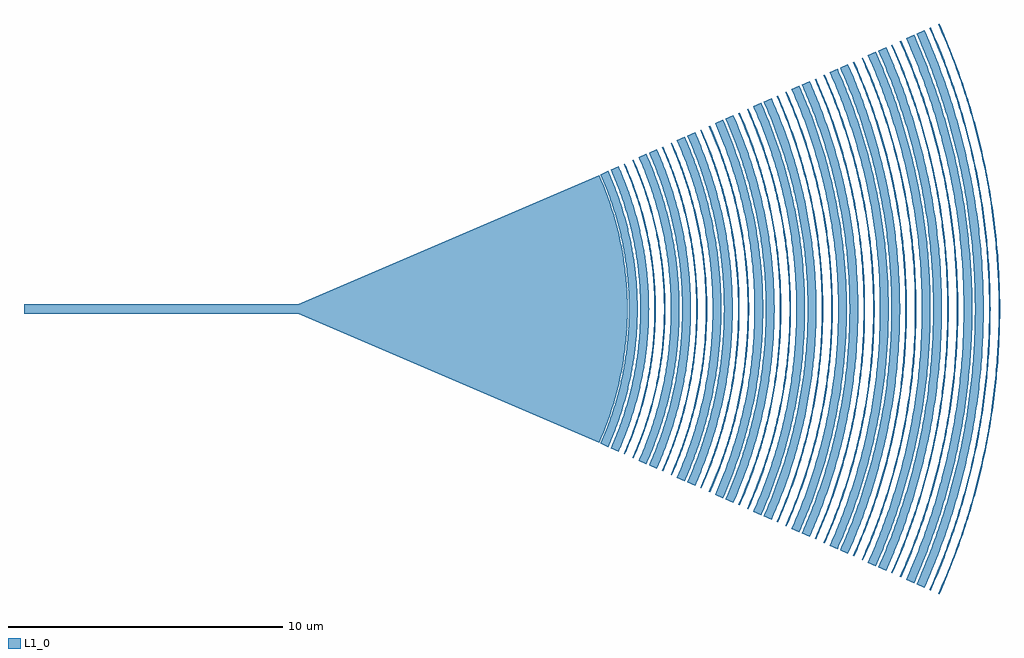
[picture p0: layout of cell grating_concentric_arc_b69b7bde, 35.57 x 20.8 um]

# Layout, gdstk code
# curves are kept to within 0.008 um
import gdstk
lib = gdstk.Library(unit=1e-6, precision=2e-09)
def R(c, l, rs):  # rectangles x0, y0, x1, y1
    for r in rs: c.add(gdstk.rectangle(r[:2], r[2:], *l))
def P(c, l, *ps):  # polygons
    for p in ps: c.add(gdstk.Polygon(p, *l))
L1_0 = (1, 0)

straight_3aa2beef = lib.new_cell('straight_3aa2beef')
R(straight_3aa2beef, L1_0, [(0,-0.174,10,0.174)])

ring_7b785521_transform_ = lib.new_cell('ring_7b785521_transform_6b13472e')
P(ring_7b785521_transform_, L1_0, [(11.008,-4.902),(11.224,-4.384),(11.394,-3.924),(11.584,-3.322),(11.742,-2.71),(11.842,-2.23),(11.952,-1.538),(12.016,-0.91),(12.04,-0.49),(12.05,0.14),(12.016,0.91),(11.952,1.538),(11.842,2.23),(11.726,2.778),(11.524,3.524),(11.3,4.188),(11.008,4.902),(11.296,5.03),(11.544,4.432),(11.804,3.684),(11.998,2.992),(12.152,2.288),(12.264,1.578),(12.33,0.934),(12.362,0.288),(12.358,-0.432),(12.312,-1.15),(12.264,-1.578),(12.19,-2.076),(12.032,-2.852),(11.846,-3.546),(11.692,-4.026),(11.544,-4.432),(11.296,-5.03)])

ring_e59a8a70_transform_ = lib.new_cell('ring_e59a8a70_transform_afdd1f73')
P(ring_e59a8a70_transform_, L1_0, [(11.386,-5.07),(11.584,-4.602),(11.832,-3.92),(12.002,-3.366),(12.162,-2.734),(12.276,-2.164),(12.372,-1.52),(12.424,-1.014),(12.46,-0.362),(12.46,0.362),(12.418,1.086),(12.344,1.734),(12.222,2.45),(12.04,3.226),(11.854,3.852),(11.662,4.4),(11.386,5.07),(11.674,5.198),(11.904,4.648),(12.154,3.948),(12.344,3.308),(12.516,2.584),(12.634,1.926),(12.724,1.188),(12.772,0.446),(12.772,-0.446),(12.724,-1.188),(12.634,-1.926),(12.484,-2.73),(12.382,-3.164),(12.264,-3.594),(12.034,-4.3),(11.848,-4.788),(11.674,-5.198)])

ring_a37c2fef_transform_ = lib.new_cell('ring_a37c2fef_transform_5f5a8555')
P(ring_a37c2fef_transform_, L1_0, [(11.856,-5.278),(12.09,-4.722),(12.222,-4.368),(12.344,-4.01),(12.536,-3.36),(12.68,-2.772),(12.782,-2.254),(12.842,-1.882),(12.9,-1.432),(12.952,-0.83),(12.978,-0.152),(12.974,0.378),(12.93,1.132),(12.9,1.432),(12.842,1.882),(12.726,2.55),(12.594,3.14),(12.434,3.722),(12.272,4.226),(12.144,4.58),(12.006,4.932),(11.856,5.278),(11.902,5.298),(12.022,5.02),(12.19,4.598),(12.414,3.954),(12.544,3.518),(12.622,3.226),(12.774,2.56),(12.868,2.038),(12.94,1.512),(12.972,1.21),(13.014,0.606),(13.028,-0.076),(13.006,-0.758),(12.972,-1.21),(12.94,-1.512),(12.89,-1.888),(12.83,-2.262),(12.694,-2.93),(12.584,-3.372),(12.502,-3.664),(12.414,-3.954),(12.268,-4.384),(12.108,-4.81),(11.902,-5.298)])

ring_c3e093f3_transform_ = lib.new_cell('ring_c3e093f3_transform_9a1306ef')
P(ring_c3e093f3_transform_, L1_0, [(12.174,-5.42),(12.414,-4.848),(12.626,-4.266),(12.832,-3.598),(12.95,-3.148),(13.036,-2.77),(13.138,-2.238),(13.208,-1.778),(13.246,-1.47),(13.3,-0.852),(13.326,-0.156),(13.316,0.542),(13.3,0.852),(13.262,1.316),(13.186,1.932),(13.138,2.238),(13.052,2.694),(12.912,3.3),(12.722,3.97),(12.626,4.266),(12.442,4.776),(12.298,5.136),(12.174,5.42),(12.218,5.44),(12.402,5.01),(12.542,4.648),(12.744,4.06),(12.836,3.762),(12.94,3.386),(13.05,2.932),(13.13,2.552),(13.246,1.862),(13.318,1.244),(13.348,0.856),(13.368,0.466),(13.376,-0.078),(13.368,-0.466),(13.348,-0.856),(13.294,-1.476),(13.246,-1.862),(13.186,-2.246),(13.05,-2.932),(12.94,-3.386),(12.858,-3.686),(12.744,-4.06),(12.596,-4.502),(12.402,-5.01),(12.218,-5.44)])

ring_b3b36a42_transform_ = lib.new_cell('ring_b3b36a42_transform_e5ae62a5')
P(ring_b3b36a42_transform_, L1_0, [(12.402,-5.522),(12.702,-4.79),(12.886,-4.27),(13.092,-3.59),(13.262,-2.9),(13.382,-2.28),(13.474,-1.654),(13.53,-1.104),(13.566,-0.474),(13.574,0.158),(13.564,0.552),(13.53,1.104),(13.454,1.81),(13.326,2.59),(13.172,3.284),(12.982,3.968),(12.702,4.79),(12.402,5.522),(12.688,5.65),(12.996,4.902),(13.234,4.216),(13.458,3.438),(13.65,2.57),(13.766,1.852),(13.844,1.13),(13.884,0.404),(13.884,-0.404),(13.83,-1.292),(13.766,-1.852),(13.706,-2.252),(13.552,-3.046),(13.352,-3.828),(13.08,-4.674),(12.878,-5.204),(12.688,-5.65)])

ring_d9a9c79b_transform_ = lib.new_cell('ring_d9a9c79b_transform_82116c78')
P(ring_d9a9c79b_transform_, L1_0, [(12.78,-5.69),(13.06,-5.014),(13.254,-4.478),(13.448,-3.856),(13.594,-3.306),(13.748,-2.59),(13.864,-1.866),(13.95,-1.058),(13.984,-0.406),(13.988,0.244),(13.95,1.058),(13.864,1.866),(13.748,2.59),(13.594,3.306),(13.492,3.7),(13.33,4.246),(13.06,5.014),(12.78,5.69),(13.068,5.818),(13.384,5.048),(13.63,4.34),(13.88,3.46),(14.042,2.73),(14.176,1.908),(14.264,1.08),(14.302,0.25),(14.296,-0.5),(14.27,-0.998),(14.226,-1.496),(14.128,-2.238),(13.974,-3.056),(13.75,-3.942),(13.63,-4.34),(13.442,-4.892),(13.294,-5.282),(13.068,-5.818)])

ring_b496fe11_transform_ = lib.new_cell('ring_b496fe11_transform_8c7499b9')
P(ring_b496fe11_transform_, L1_0, [(13.25,-5.9),(13.384,-5.59),(13.54,-5.198),(13.658,-4.882),(13.82,-4.402),(14.01,-3.754),(14.186,-3.016),(14.312,-2.352),(14.406,-1.684),(14.474,-0.928),(14.498,-0.422),(14.504,-0.084),(14.502,0.254),(14.484,0.76),(14.456,1.18),(14.424,1.516),(14.338,2.186),(14.204,2.932),(14.052,3.59),(13.87,4.24),(13.768,4.562),(13.6,5.04),(13.448,5.434),(13.25,5.9),(13.294,5.918),(13.396,5.686),(13.586,5.216),(13.76,4.738),(13.892,4.336),(14.1,3.602),(14.252,2.942),(14.332,2.526),(14.386,2.192),(14.434,1.858),(14.482,1.436),(14.528,0.846),(14.544,0.508),(14.552,-0.17),(14.528,-0.846),(14.49,-1.352),(14.434,-1.858),(14.332,-2.526),(14.18,-3.274),(14.1,-3.602),(13.988,-4.012),(13.892,-4.336),(13.704,-4.898),(13.556,-5.294),(13.294,-5.918)])

ring_81f2dd4c_transform_ = lib.new_cell('ring_81f2dd4c_transform_37054aa6')
P(ring_81f2dd4c_transform_, L1_0, [(13.568,-6.04),(13.738,-5.644),(13.896,-5.242),(14.098,-4.672),(14.228,-4.26),(14.346,-3.844),(14.49,-3.256),(14.544,-3.004),(14.626,-2.578),(14.682,-2.238),(14.77,-1.552),(14.826,-0.864),(14.848,-0.346),(14.852,0),(14.848,0.346),(14.826,0.864),(14.77,1.552),(14.682,2.238),(14.562,2.918),(14.41,3.592),(14.228,4.26),(14.098,4.672),(13.896,5.242),(13.738,5.644),(13.568,6.04),(13.612,6.06),(13.75,5.742),(13.942,5.258),(14.198,4.522),(14.37,3.94),(14.458,3.604),(14.592,3.014),(14.674,2.588),(14.73,2.246),(14.828,1.472),(14.858,1.126),(14.884,0.694),(14.898,0.26),(14.9,-0.086),(14.88,-0.78),(14.858,-1.126),(14.81,-1.644),(14.73,-2.246),(14.674,-2.588),(14.538,-3.268),(14.458,-3.604),(14.346,-4.024),(14.224,-4.44),(14.06,-4.932),(13.848,-5.502),(13.612,-6.06)])

ring_652ba43f_transform_ = lib.new_cell('ring_652ba43f_transform_01425a8c')
P(ring_652ba43f_transform_, L1_0, [(13.794,-6.142),(14.064,-5.494),(14.306,-4.832),(14.538,-4.078),(14.732,-3.31),(14.9,-2.448),(14.998,-1.752),(15.05,-1.228),(15.096,-0.352),(15.096,0.352),(15.05,1.228),(15.008,1.666),(14.94,2.188),(14.788,3.054),(14.608,3.824),(14.388,4.582),(14.128,5.33),(13.794,6.142),(14.082,6.27),(14.454,5.356),(14.688,4.678),(14.912,3.902),(15.114,3.03),(15.252,2.234),(15.356,1.344),(15.408,0.448),(15.408,-0.448),(15.356,-1.344),(15.252,-2.234),(15.078,-3.204),(14.842,-4.162),(14.688,-4.678),(14.454,-5.356),(14.082,-6.27)])

ring_9bdb57f8_transform_ = lib.new_cell('ring_9bdb57f8_transform_b4df45df')
P(ring_9bdb57f8_transform_, L1_0, [(14.172,-6.31),(14.484,-5.56),(14.698,-4.966),(14.938,-4.19),(15.096,-3.578),(15.246,-2.872),(15.376,-2.07),(15.47,-1.172),(15.508,-0.452),(15.508,0.452),(15.47,1.172),(15.376,2.07),(15.212,3.048),(15.054,3.754),(14.81,4.622),(14.516,5.476),(14.172,6.31),(14.46,6.438),(14.778,5.672),(14.906,5.328),(15.11,4.716),(15.358,3.83),(15.556,2.93),(15.688,2.112),(15.784,1.196),(15.822,0.46),(15.822,-0.46),(15.802,-0.92),(15.76,-1.472),(15.662,-2.294),(15.502,-3.2),(15.266,-4.186),(15.11,-4.716),(14.906,-5.328),(14.676,-5.93),(14.46,-6.438)])

ring_4860715f_transform_ = lib.new_cell('ring_4860715f_transform_7244bd21')
P(ring_4860715f_transform_, L1_0, [(14.642,-6.52),(14.826,-6.09),(14.964,-5.744),(15.062,-5.482),(15.244,-4.952),(15.458,-4.238),(15.552,-3.878),(15.678,-3.332),(15.816,-2.6),(15.872,-2.23),(15.94,-1.676),(15.996,-1.026),(16.022,-0.466),(16.028,-0.094),(16.022,0.466),(16.006,0.838),(15.95,1.582),(15.872,2.23),(15.816,2.6),(15.716,3.15),(15.618,3.606),(15.53,3.968),(15.328,4.686),(15.214,5.042),(15.03,5.57),(14.826,6.09),(14.642,6.52),(14.686,6.54),(14.836,6.196),(15.01,5.762),(15.14,5.41),(15.29,4.968),(15.402,4.61),(15.53,4.16),(15.644,3.708),(15.764,3.16),(15.908,2.33),(15.958,1.96),(16.008,1.494),(16.038,1.122),(16.068,0.562),(16.076,-0.188),(16.068,-0.562),(16.038,-1.122),(16.008,-1.494),(15.958,-1.96),(15.864,-2.608),(15.8,-2.976),(15.686,-3.526),(15.6,-3.89),(15.428,-4.522),(15.29,-4.968),(15.14,-5.41),(14.976,-5.848),(14.836,-6.196),(14.686,-6.54)])

ring_ed31be0d_transform_ = lib.new_cell('ring_ed31be0d_transform_947e584a')
P(ring_ed31be0d_transform_, L1_0, [(14.96,-6.66),(15.148,-6.222),(15.322,-5.78),(15.484,-5.332),(15.604,-4.97),(15.818,-4.238),(15.998,-3.498),(16.144,-2.75),(16.266,-1.902),(16.314,-1.428),(16.354,-0.858),(16.376,-0.096),(16.372,0.382),(16.354,0.858),(16.296,1.616),(16.23,2.184),(16.174,2.562),(16.038,3.312),(15.89,3.962),(15.768,4.422),(15.66,4.788),(15.484,5.332),(15.356,5.69),(15.184,6.134),(14.96,6.66),(15.004,6.68),(15.3,5.976),(15.53,5.348),(15.65,4.984),(15.762,4.62),(15.89,4.158),(15.982,3.788),(16.086,3.322),(16.176,2.852),(16.238,2.474),(16.314,1.906),(16.354,1.526),(16.392,1.05),(16.412,0.668),(16.424,0.192),(16.424,-0.192),(16.412,-0.668),(16.392,-1.05),(16.354,-1.526),(16.314,-1.906),(16.252,-2.38),(16.176,-2.852),(16.086,-3.322),(16.004,-3.694),(15.89,-4.158),(15.762,-4.62),(15.53,-5.348),(15.3,-5.976),(15.044,-6.594),(15.004,-6.68)])

ring_e0a0827b_transform_ = lib.new_cell('ring_e0a0827b_transform_83472e3a')
P(ring_e0a0827b_transform_, L1_0, [(15.186,-6.762),(15.45,-6.138),(15.75,-5.32),(15.954,-4.676),(16.22,-3.646),(16.388,-2.792),(16.512,-1.93),(16.584,-1.16),(16.62,-0.386),(16.614,0.58),(16.552,1.546),(16.448,2.41),(16.3,3.266),(16.154,3.928),(15.87,4.952),(15.52,5.958),(15.186,6.762),(15.474,6.89),(15.706,6.346),(15.884,5.886),(16.17,5.046),(16.412,4.194),(16.628,3.232),(16.774,2.358),(16.866,1.574),(16.904,1.084),(16.932,0.492),(16.932,-0.492),(16.904,-1.084),(16.866,-1.574),(16.746,-2.552),(16.646,-3.136),(16.548,-3.618),(16.31,-4.574),(16.08,-5.328),(15.918,-5.794),(15.706,-6.346),(15.474,-6.89)])

ring_11cd2b87_transform_ = lib.new_cell('ring_11cd2b87_transform_3836054d')
P(ring_11cd2b87_transform_, L1_0, [(15.566,-6.93),(15.872,-6.198),(16.174,-5.36),(16.406,-4.602),(16.58,-3.93),(16.78,-2.958),(16.9,-2.174),(16.998,-1.188),(17.032,-0.496),(17.032,0.496),(16.974,1.486),(16.886,2.274),(16.726,3.252),(16.58,3.93),(16.406,4.602),(16.294,4.982),(16.11,5.548),(15.942,6.014),(15.566,6.93),(15.854,7.058),(16.052,6.594),(16.272,6.03),(16.596,5.074),(16.814,4.296),(17.054,3.212),(17.212,2.216),(17.304,1.312),(17.346,0.504),(17.346,-0.504),(17.288,-1.512),(17.212,-2.216),(17.156,-2.614),(16.974,-3.608),(16.814,-4.296),(16.682,-4.784),(16.342,-5.84),(16.128,-6.406),(15.854,-7.058)])

ring_a05d43a9_transform_ = lib.new_cell('ring_a05d43a9_transform_926159f3')
P(ring_a05d43a9_transform_, L1_0, [(16.036,-7.14),(16.236,-6.67),(16.424,-6.194),(16.694,-5.424),(16.816,-5.034),(16.928,-4.642),(17.056,-4.148),(17.17,-3.65),(17.304,-2.948),(17.368,-2.544),(17.446,-1.936),(17.51,-1.224),(17.534,-0.816),(17.552,-0.204),(17.546,0.51),(17.534,0.816),(17.486,1.53),(17.446,1.936),(17.368,2.544),(17.304,2.948),(17.23,3.35),(17.148,3.75),(17.032,4.246),(16.816,5.034),(16.63,5.618),(16.424,6.194),(16.236,6.67),(16.036,7.14),(16.08,7.16),(16.396,6.404),(16.608,5.828),(16.772,5.342),(16.892,4.95),(17.054,4.358),(17.128,4.06),(17.238,3.56),(17.352,2.956),(17.416,2.552),(17.506,1.84),(17.544,1.432),(17.578,0.922),(17.594,0.512),(17.602,-0.102),(17.578,-0.922),(17.552,-1.33),(17.506,-1.84),(17.416,-2.552),(17.352,-2.956),(17.298,-3.258),(17.174,-3.86),(17.054,-4.358),(16.948,-4.754),(16.772,-5.342),(16.676,-5.634),(16.396,-6.404),(16.242,-6.784),(16.08,-7.16)])

ring_7d0d6116_transform_ = lib.new_cell('ring_7d0d6116_transform_387bc8b1')
P(ring_7d0d6116_transform_, L1_0, [(16.352,-7.28),(16.478,-6.994),(16.674,-6.512),(16.786,-6.22),(16.992,-5.63),(17.088,-5.334),(17.264,-4.734),(17.394,-4.23),(17.488,-3.824),(17.592,-3.314),(17.664,-2.904),(17.712,-2.594),(17.792,-1.974),(17.842,-1.456),(17.864,-1.144),(17.882,-0.832),(17.9,-0.208),(17.9,0.208),(17.89,0.624),(17.842,1.456),(17.792,1.974),(17.712,2.594),(17.664,2.904),(17.552,3.518),(17.488,3.824),(17.344,4.432),(17.208,4.934),(17.088,5.334),(16.926,5.828),(16.786,6.22),(16.598,6.706),(16.352,7.28),(16.398,7.3),(16.562,6.918),(16.758,6.432),(16.938,5.942),(17.038,5.646),(17.166,5.248),(17.338,4.646),(17.442,4.24),(17.558,3.732),(17.64,3.322),(17.712,2.91),(17.802,2.292),(17.852,1.876),(17.906,1.252),(17.93,0.836),(17.942,0.522),(17.95,-0.104),(17.93,-0.836),(17.906,-1.252),(17.852,-1.876),(17.802,-2.292),(17.712,-2.91),(17.64,-3.322),(17.536,-3.834),(17.442,-4.24),(17.254,-4.948),(17.166,-5.248),(16.972,-5.844),(16.758,-6.432),(16.482,-7.11),(16.398,-7.3)])

ring_6399e6f7_transform_ = lib.new_cell('ring_6399e6f7_transform_18e1f499')
P(ring_6399e6f7_transform_, L1_0, [(16.58,-7.382),(16.944,-6.504),(17.228,-5.708),(17.446,-5.002),(17.708,-3.98),(17.892,-3.048),(18.014,-2.212),(18.096,-1.372),(18.142,-0.528),(18.148,0.212),(18.112,1.16),(18.05,1.898),(17.926,2.84),(17.836,3.36),(17.708,3.98),(17.558,4.596),(17.386,5.206),(17.228,5.708),(17.018,6.306),(16.828,6.798),(16.58,7.382),(16.868,7.51),(17.276,6.516),(17.626,5.5),(17.916,4.466),(18.104,3.628),(18.202,3.1),(18.284,2.57),(18.394,1.61),(18.456,0.538),(18.456,-0.538),(18.426,-1.18),(18.374,-1.824),(18.298,-2.464),(18.22,-2.994),(18.038,-3.944),(17.916,-4.466),(17.778,-4.986),(17.56,-5.706),(17.35,-6.314),(17.12,-6.916),(16.868,-7.51)])

ring_857e8ab7_transform_ = lib.new_cell('ring_857e8ab7_transform_24ce2f5e')
P(ring_857e8ab7_transform_, L1_0, [(16.958,-7.55),(17.292,-6.754),(17.622,-5.838),(17.874,-5.012),(18.088,-4.176),(18.282,-3.224),(18.412,-2.37),(18.502,-1.51),(18.556,-0.54),(18.562,0.216),(18.526,1.188),(18.462,1.94),(18.352,2.798),(18.282,3.224),(18.112,4.07),(17.986,4.596),(17.784,5.324),(17.444,6.35),(17.212,6.954),(16.958,7.55),(17.246,7.678),(17.504,7.072),(17.664,6.662),(17.988,5.73),(18.146,5.204),(18.318,4.568),(18.532,3.602),(18.71,2.518),(18.816,1.536),(18.87,0.55),(18.876,-0.33),(18.858,-0.878),(18.816,-1.536),(18.71,-2.518),(18.592,-3.278),(18.488,-3.818),(18.37,-4.354),(18.206,-4.992),(18.054,-5.52),(17.814,-6.25),(17.504,-7.072),(17.246,-7.678)])

ring_9c9b0f23_transform_ = lib.new_cell('ring_9c9b0f23_transform_a9ed1391')
P(ring_9c9b0f23_transform_, L1_0, [(17.428,-7.76),(17.73,-7.044),(17.888,-6.63),(18.11,-6),(18.308,-5.366),(18.428,-4.938),(18.538,-4.508),(18.638,-4.074),(18.788,-3.312),(18.86,-2.874),(18.936,-2.324),(18.994,-1.774),(19.046,-1.11),(19.07,-0.554),(19.078,-0.11),(19.07,0.554),(19.052,0.998),(18.984,1.884),(18.922,2.436),(18.86,2.874),(18.788,3.312),(18.706,3.75),(18.614,4.184),(18.484,4.722),(18.308,5.366),(18.212,5.684),(18.002,6.316),(17.85,6.732),(17.646,7.25),(17.428,7.76),(17.472,7.78),(17.606,7.474),(17.816,6.958),(18.048,6.332),(18.156,6.016),(18.386,5.272),(18.504,4.842),(18.636,4.302),(18.732,3.868),(18.836,3.322),(18.908,2.882),(18.984,2.33),(19.044,1.778),(19.088,1.224),(19.106,0.89),(19.122,0.446),(19.126,-0.112),(19.122,-0.446),(19.088,-1.224),(19.054,-1.666),(19.01,-2.11),(18.956,-2.552),(18.874,-3.102),(18.754,-3.758),(18.684,-4.086),(18.558,-4.628),(18.446,-5.058),(18.258,-5.698),(18.12,-6.122),(17.896,-6.75),(17.606,-7.474),(17.472,-7.78)])

ring_575653fd_transform_ = lib.new_cell('ring_575653fd_transform_d7ce748a')
P(ring_575653fd_transform_, L1_0, [(17.746,-7.9),(17.968,-7.382),(18.176,-6.856),(18.404,-6.218),(18.51,-5.896),(18.61,-5.572),(18.764,-5.028),(18.876,-4.59),(19.024,-3.928),(19.13,-3.374),(19.204,-2.928),(19.294,-2.256),(19.342,-1.806),(19.386,-1.242),(19.41,-0.79),(19.426,0),(19.41,0.79),(19.386,1.242),(19.342,1.806),(19.294,2.256),(19.204,2.928),(19.13,3.374),(19.024,3.928),(18.928,4.37),(18.764,5.028),(18.544,5.788),(18.404,6.218),(18.176,6.856),(17.968,7.382),(17.746,7.9),(17.79,7.92),(18.014,7.4),(18.14,7.084),(18.376,6.448),(18.556,5.91),(18.72,5.368),(18.84,4.93),(18.95,4.492),(19.072,3.938),(19.158,3.494),(19.252,2.934),(19.368,2.036),(19.41,1.584),(19.448,1.02),(19.472,0.34),(19.474,-0.114),(19.466,-0.566),(19.442,-1.132),(19.41,-1.584),(19.356,-2.148),(19.3,-2.598),(19.198,-3.27),(19.116,-3.716),(19,-4.27),(18.868,-4.822),(18.72,-5.368),(18.624,-5.694),(18.414,-6.34),(18.14,-7.084),(17.882,-7.714),(17.79,-7.92)])

ring_a6a98e82_transform_ = lib.new_cell('ring_a6a98e82_transform_e64d0e5e')
P(ring_a6a98e82_transform_, L1_0, [(17.972,-8.002),(18.326,-7.158),(18.602,-6.406),(18.912,-5.422),(19.17,-4.426),(19.334,-3.642),(19.498,-2.624),(19.554,-2.17),(19.618,-1.486),(19.666,-0.572),(19.67,0.344),(19.634,1.258),(19.554,2.17),(19.432,3.078),(19.334,3.642),(19.17,4.426),(19.004,5.092),(18.88,5.532),(18.71,6.08),(18.448,6.836),(18.198,7.476),(17.972,8.002),(18.26,8.13),(18.702,7.054),(19.046,6.066),(19.308,5.174),(19.45,4.61),(19.576,4.042),(19.778,2.896),(19.902,1.858),(19.972,0.814),(19.986,0.348),(19.986,-0.348),(19.932,-1.51),(19.854,-2.32),(19.778,-2.896),(19.576,-4.042),(19.45,-4.61),(19.308,-5.174),(19.08,-5.956),(18.862,-6.618),(18.576,-7.38),(18.26,-8.13)])

ring_4dd50803_transform_ = lib.new_cell('ring_4dd50803_transform_1b05ddfe')
P(ring_4dd50803_transform_, L1_0, [(18.352,-8.17),(18.712,-7.308),(19.032,-6.43),(19.342,-5.424),(19.6,-4.404),(19.762,-3.604),(19.924,-2.564),(20.022,-1.634),(20.08,-0.584),(20.08,0.584),(20.04,1.402),(19.966,2.216),(19.822,3.258),(19.6,4.404),(19.434,5.086),(19.278,5.65),(19.032,6.43),(18.796,7.09),(18.582,7.634),(18.352,8.17),(18.638,8.298),(19.048,7.312),(19.368,6.418),(19.512,5.966),(19.708,5.28),(19.826,4.82),(19.982,4.126),(20.114,3.426),(20.188,2.958),(20.326,1.778),(20.368,1.186),(20.398,0.474),(20.398,-0.474),(20.336,-1.66),(20.278,-2.25),(20.188,-2.958),(20.114,-3.426),(19.982,-4.126),(19.826,-4.82),(19.708,-5.28),(19.512,-5.966),(19.292,-6.642),(18.962,-7.532),(18.638,-8.298)])

ring_e923c7e0_transform_ = lib.new_cell('ring_e923c7e0_transform_8fb85423')
P(ring_e923c7e0_transform_, L1_0, [(18.82,-8.38),(19.01,-7.94),(19.234,-7.384),(19.48,-6.708),(19.594,-6.366),(19.702,-6.024),(19.9,-5.332),(20.046,-4.752),(20.152,-4.284),(20.224,-3.932),(20.33,-3.342),(20.402,-2.868),(20.49,-2.154),(20.544,-1.556),(20.568,-1.198),(20.594,-0.6),(20.602,-0.12),(20.594,0.6),(20.58,0.958),(20.544,1.556),(20.502,2.034),(20.402,2.868),(20.33,3.342),(20.224,3.932),(20.1,4.518),(19.99,4.984),(19.836,5.564),(19.702,6.024),(19.48,6.708),(19.276,7.272),(19.102,7.718),(18.82,8.38),(18.866,8.4),(19.102,7.848),(19.28,7.4),(19.526,6.724),(19.678,6.268),(19.818,5.808),(19.948,5.344),(20.066,4.88),(20.2,4.294),(20.338,3.586),(20.416,3.112),(20.498,2.516),(20.562,1.92),(20.592,1.56),(20.634,0.84),(20.65,0.24),(20.65,-0.24),(20.634,-0.84),(20.592,-1.56),(20.562,-1.92),(20.498,-2.516),(20.416,-3.112),(20.338,-3.586),(20.2,-4.294),(20.122,-4.646),(19.948,-5.344),(19.818,-5.808),(19.678,-6.268),(19.526,-6.724),(19.28,-7.4),(19.01,-8.068),(18.866,-8.4)])

ring_097d5580_transform_ = lib.new_cell('ring_097d5580_transform_c0c6fd73')
P(ring_097d5580_transform_, L1_0, [(19.138,-8.522),(19.332,-8.074),(19.602,-7.394),(19.848,-6.706),(19.962,-6.358),(20.172,-5.658),(20.268,-5.304),(20.386,-4.832),(20.518,-4.236),(20.632,-3.638),(20.692,-3.278),(20.794,-2.554),(20.836,-2.19),(20.89,-1.582),(20.922,-1.096),(20.942,-0.61),(20.95,-0.122),(20.942,0.61),(20.928,0.974),(20.86,1.948),(20.794,2.554),(20.692,3.278),(20.632,3.638),(20.518,4.236),(20.386,4.832),(20.268,5.304),(20.034,6.126),(19.848,6.706),(19.602,7.394),(19.332,8.074),(19.138,8.522),(19.184,8.54),(19.424,7.98),(19.648,7.412),(19.894,6.72),(20.046,6.256),(20.186,5.788),(20.346,5.198),(20.488,4.604),(20.59,4.126),(20.68,3.646),(20.778,3.044),(20.828,2.68),(20.908,1.952),(20.948,1.464),(20.982,0.854),(20.998,0.244),(20.998,-0.244),(20.982,-0.854),(20.948,-1.464),(20.896,-2.074),(20.828,-2.68),(20.778,-3.044),(20.68,-3.646),(20.59,-4.126),(20.488,-4.604),(20.346,-5.198),(20.186,-5.788),(20.046,-6.256),(19.894,-6.72),(19.648,-7.412),(19.424,-7.98),(19.184,-8.54)])

ring_21fe121f_transform_ = lib.new_cell('ring_21fe121f_transform_288d735f')
P(ring_21fe121f_transform_, L1_0, [(19.366,-8.622),(19.746,-7.712),(20.084,-6.784),(20.236,-6.316),(20.444,-5.606),(20.682,-4.648),(20.898,-3.56),(21.04,-2.584),(21.138,-1.602),(21.19,-0.616),(21.19,0.616),(21.138,1.602),(21.04,2.584),(20.898,3.56),(20.76,4.286),(20.598,5.008),(20.308,6.08),(20.084,6.784),(19.878,7.366),(19.608,8.056),(19.366,8.622),(19.652,8.75),(19.852,8.29),(20.084,7.71),(20.3,7.122),(20.536,6.41),(20.844,5.326),(21.094,4.228),(21.208,3.612),(21.304,2.994),(21.432,1.874),(21.496,0.876),(21.512,0.25),(21.508,-0.5),(21.484,-1.126),(21.432,-1.874),(21.304,-2.994),(21.208,-3.612),(21.094,-4.228),(20.844,-5.326),(20.61,-6.17),(20.382,-6.886),(20.084,-7.71),(19.704,-8.636),(19.652,-8.75)])

ring_8de37473_transform_ = lib.new_cell('ring_8de37473_transform_8c2ce30b')
P(ring_8de37473_transform_, L1_0, [(19.744,-8.79),(20.178,-7.746),(20.516,-6.798),(20.844,-5.716),(21.114,-4.616),(21.306,-3.63),(21.452,-2.634),(21.508,-2.134),(21.56,-1.508),(21.61,-0.378),(21.6,0.754),(21.542,1.758),(21.452,2.634),(21.306,3.63),(21.192,4.248),(21.03,4.984),(20.844,5.716),(20.632,6.44),(20.436,7.036),(20.178,7.746),(19.744,8.79),(20.032,8.918),(20.472,7.858),(20.606,7.5),(20.894,6.654),(21.18,5.676),(21.366,4.932),(21.5,4.31),(21.678,3.304),(21.78,2.546),(21.844,1.912),(21.91,0.892),(21.928,0.128),(21.922,-0.51),(21.898,-1.148),(21.844,-1.912),(21.78,-2.546),(21.678,-3.304),(21.572,-3.934),(21.422,-4.684),(21.18,-5.676),(20.894,-6.654),(20.606,-7.5),(20.378,-8.096),(20.032,-8.918)])

ring_ed1db1fa_transform_ = lib.new_cell('ring_ed1db1fa_transform_4a00e621')
P(ring_ed1db1fa_transform_, L1_0, [(20.214,-9),(20.468,-8.408),(20.658,-7.93),(20.88,-7.326),(21.084,-6.716),(21.34,-5.852),(21.47,-5.352),(21.644,-4.6),(21.744,-4.096),(21.834,-3.588),(21.912,-3.08),(21.978,-2.568),(22.054,-1.8),(22.082,-1.416),(22.114,-0.772),(22.126,-0.258),(22.126,0.258),(22.114,0.772),(22.09,1.286),(22.054,1.8),(21.978,2.568),(21.912,3.08),(21.834,3.588),(21.696,4.348),(21.56,4.978),(21.47,5.352),(21.34,5.852),(21.16,6.47),(20.922,7.204),(20.658,7.93),(20.468,8.408),(20.214,9),(20.258,9.02),(20.512,8.426),(20.702,7.948),(20.926,7.342),(21.13,6.73),(21.244,6.36),(21.454,5.614),(21.608,4.988),(21.692,4.61),(21.816,3.978),(21.942,3.214),(22.026,2.574),(22.068,2.19),(22.122,1.546),(22.152,1.032),(22.17,0.516),(22.176,-0.13),(22.17,-0.516),(22.146,-1.16),(22.122,-1.546),(22.068,-2.19),(22.026,-2.574),(21.942,-3.214),(21.816,-3.978),(21.692,-4.61),(21.548,-5.24),(21.42,-5.74),(21.244,-6.36),(21.01,-7.098),(20.794,-7.706),(20.462,-8.546),(20.258,-9.02)])

ring_dea86173_transform_ = lib.new_cell('ring_dea86173_transform_b872b05c')
P(ring_dea86173_transform_, L1_0, [(20.532,-9.142),(20.738,-8.662),(20.982,-8.054),(21.164,-7.564),(21.334,-7.07),(21.454,-6.696),(21.64,-6.07),(21.838,-5.31),(21.984,-4.672),(22.062,-4.288),(22.178,-3.644),(22.274,-2.998),(22.338,-2.48),(22.39,-1.958),(22.428,-1.438),(22.456,-0.916),(22.474,-0.262),(22.466,0.654),(22.444,1.176),(22.39,1.958),(22.308,2.738),(22.238,3.258),(22.156,3.774),(22.062,4.288),(21.928,4.928),(21.806,5.438),(21.64,6.07),(21.454,6.696),(21.25,7.318),(21.074,7.81),(20.838,8.42),(20.532,9.142),(20.576,9.162),(20.784,8.68),(21.028,8.072),(21.254,7.456),(21.422,6.96),(21.578,6.46),(21.756,5.83),(21.886,5.322),(22.032,4.682),(22.182,3.912),(22.246,3.524),(22.34,2.874),(22.414,2.224),(22.46,1.702),(22.5,1.048),(22.518,0.524),(22.524,-0.132),(22.51,-0.786),(22.486,-1.31),(22.438,-1.964),(22.372,-2.614),(22.286,-3.264),(22.182,-3.912),(22.11,-4.298),(21.976,-4.938),(21.79,-5.702),(21.578,-6.46),(21.422,-6.96),(21.254,-7.456),(21.028,-8.072),(20.682,-8.922),(20.576,-9.162)])

ring_476e66be_transform_ = lib.new_cell('ring_476e66be_transform_8735b0c4')
P(ring_476e66be_transform_, L1_0, [(20.758,-9.242),(21.214,-8.144),(21.57,-7.148),(21.914,-6.008),(22.17,-4.982),(22.378,-3.946),(22.464,-3.424),(22.57,-2.638),(22.668,-1.586),(22.72,-0.396),(22.714,0.66),(22.648,1.848),(22.554,2.77),(22.378,3.946),(22.254,4.594),(22.08,5.368),(21.914,6.008),(21.73,6.644),(21.528,7.272),(21.214,8.144),(20.758,9.242),(21.046,9.37),(21.508,8.256),(21.694,7.754),(21.952,6.992),(22.146,6.35),(22.354,5.574),(22.562,4.658),(22.688,4),(22.814,3.206),(22.938,2.142),(22.982,1.608),(23.024,0.804),(23.038,0.134),(23.032,-0.536),(23.006,-1.206),(22.962,-1.874),(22.832,-3.074),(22.64,-4.264),(22.506,-4.92),(22.354,-5.574),(22.146,-6.35),(21.826,-7.374),(21.508,-8.256),(21.154,-9.124),(21.046,-9.37)])

ring_2c3fef1b_transform_ = lib.new_cell('ring_2c3fef1b_transform_c91ff493')
P(ring_2c3fef1b_transform_, L1_0, [(21.138,-9.41),(21.402,-8.792),(21.696,-8.04),(22.046,-7.022),(22.242,-6.378),(22.384,-5.858),(22.604,-4.942),(22.786,-4.018),(22.948,-2.954),(23.072,-1.748),(23.132,-0.538),(23.132,0.538),(23.072,1.748),(22.948,2.954),(22.832,3.752),(22.66,4.678),(22.514,5.336),(22.384,5.858),(22.166,6.636),(21.92,7.406),(21.696,8.04),(21.402,8.792),(21.138,9.41),(21.424,9.538),(21.846,8.532),(22.13,7.764),(22.388,6.988),(22.618,6.202),(22.756,5.674),(23.022,4.474),(23.12,3.938),(23.224,3.264),(23.324,2.452),(23.386,1.772),(23.446,0.546),(23.446,-0.546),(23.386,-1.772),(23.324,-2.452),(23.224,-3.264),(23.12,-3.938),(22.968,-4.742),(22.852,-5.276),(22.654,-6.07),(22.388,-6.988),(22.13,-7.764),(21.796,-8.658),(21.424,-9.538)])

ring_37358774_transform_ = lib.new_cell('ring_37358774_transform_9f112b29')
P(ring_37358774_transform_, L1_0, [(21.606,-9.62),(21.93,-8.86),(22.226,-8.09),(22.408,-7.57),(22.618,-6.916),(22.81,-6.254),(22.982,-5.588),(23.106,-5.052),(23.19,-4.648),(23.316,-3.972),(23.422,-3.292),(23.508,-2.61),(23.574,-1.924),(23.612,-1.376),(23.638,-0.826),(23.652,-0.138),(23.638,0.826),(23.604,1.512),(23.55,2.198),(23.508,2.61),(23.422,3.292),(23.316,3.972),(23.19,4.648),(23.046,5.32),(22.916,5.856),(22.736,6.52),(22.578,7.046),(22.408,7.57),(22.13,8.348),(21.878,8.988),(21.606,9.62),(21.652,9.64),(21.87,9.134),(22.126,8.494),(22.272,8.106),(22.498,7.454),(22.624,7.062),(22.82,6.4),(23.03,5.6),(23.154,5.062),(23.238,4.658),(23.364,3.98),(23.47,3.298),(23.556,2.614),(23.622,1.928),(23.668,1.24),(23.694,0.552),(23.7,-0.138),(23.686,-0.828),(23.652,-1.516),(23.61,-2.066),(23.556,-2.614),(23.47,-3.298),(23.364,-3.98),(23.238,-4.658),(23.154,-5.062),(23.03,-5.6),(22.82,-6.4),(22.624,-7.062),(22.41,-7.716),(22.176,-8.364),(21.87,-9.134),(21.652,-9.64)])

ring_b1252118_transform_ = lib.new_cell('ring_b1252118_transform_8db76d92')
P(ring_b1252118_transform_, L1_0, [(21.924,-9.762),(22.2,-9.12),(22.406,-8.6),(22.646,-7.946),(22.868,-7.284),(23.07,-6.616),(23.218,-6.076),(23.416,-5.262),(23.504,-4.854),(23.61,-4.304),(23.726,-3.616),(23.838,-2.786),(23.868,-2.508),(23.92,-1.952),(23.974,-1.116),(23.99,-0.698),(24,0),(23.99,0.698),(23.974,1.116),(23.92,1.952),(23.868,2.508),(23.838,2.786),(23.726,3.616),(23.61,4.304),(23.504,4.854),(23.416,5.262),(23.218,6.076),(23.07,6.616),(22.91,7.15),(22.692,7.814),(22.406,8.6),(22.2,9.12),(21.924,9.762),(21.97,9.782),(22.298,9.008),(22.5,8.488),(22.646,8.094),(22.872,7.432),(23.078,6.762),(23.3,5.954),(23.432,5.41),(23.552,4.862),(23.658,4.314),(23.774,3.624),(23.852,3.07),(23.944,2.236),(23.98,1.818),(24.016,1.258),(24.042,0.56),(24.048,-0.14),(24.034,-0.84),(24.008,-1.398),(23.98,-1.818),(23.902,-2.652),(23.834,-3.208),(23.73,-3.9),(23.58,-4.726),(23.494,-5.136),(23.368,-5.682),(23.192,-6.36),(22.998,-7.032),(22.784,-7.696),(22.55,-8.356),(22.35,-8.878),(22.19,-9.268),(21.97,-9.782)])

ring_74b0b324_transform_ = lib.new_cell('ring_74b0b324_transform_d78c6912')
P(ring_74b0b324_transform_, L1_0, [(22.152,-9.862),(22.638,-8.69),(22.972,-7.76),(23.308,-6.684),(23.458,-6.14),(23.658,-5.316),(23.904,-4.072),(23.992,-3.514),(24.084,-2.814),(24.156,-2.114),(24.198,-1.55),(24.244,-0.424),(24.238,0.706),(24.168,1.972),(24.05,3.094),(23.904,4.072),(23.718,5.042),(23.594,5.592),(23.422,6.276),(23.188,7.09),(22.972,7.76),(22.688,8.558),(22.482,9.084),(22.152,9.862),(22.438,9.99),(22.88,8.936),(23.178,8.132),(23.404,7.454),(23.572,6.908),(23.762,6.22),(23.932,5.526),(24.084,4.826),(24.19,4.266),(24.324,3.418),(24.456,2.284),(24.512,1.57),(24.548,0.858),(24.562,0.142),(24.556,-0.572),(24.536,-1.142),(24.492,-1.856),(24.428,-2.568),(24.324,-3.418),(24.19,-4.266),(24.084,-4.826),(23.932,-5.526),(23.762,-6.22),(23.49,-7.182),(23.178,-8.132),(22.88,-8.936),(22.496,-9.86),(22.438,-9.99)])

ring_af23d430_transform_ = lib.new_cell('ring_af23d430_transform_a52c6bf2')
P(ring_af23d430_transform_, L1_0, [(22.53,-10.03),(22.758,-9.504),(23.076,-8.704),(23.456,-7.62),(23.822,-6.384),(24.062,-5.408),(24.182,-4.846),(24.312,-4.142),(24.402,-3.574),(24.496,-2.864),(24.556,-2.292),(24.612,-1.578),(24.656,-0.574),(24.656,0.574),(24.636,1.148),(24.592,1.864),(24.496,2.864),(24.402,3.574),(24.312,4.142),(24.182,4.846),(23.998,5.688),(23.822,6.384),(23.626,7.074),(23.41,7.758),(23.126,8.57),(22.812,9.372),(22.53,10.03),(22.818,10.158),(23.104,9.492),(23.37,8.816),(23.616,8.132),(23.842,7.442),(24.01,6.884),(24.2,6.184),(24.49,4.908),(24.598,4.338),(24.714,3.62),(24.808,2.9),(24.882,2.176),(24.926,1.598),(24.962,0.872),(24.976,0.29),(24.974,-0.436),(24.95,-1.162),(24.906,-1.888),(24.84,-2.61),(24.754,-3.332),(24.67,-3.908),(24.546,-4.624),(24.432,-5.192),(24.2,-6.184),(23.928,-7.164),(23.71,-7.856),(23.37,-8.816),(22.992,-9.76),(22.818,-10.158)])

ring_fc6a15d7_transform_ = lib.new_cell('ring_fc6a15d7_transform_9f57c90a')
P(ring_fc6a15d7_transform_, L1_0, [(23,-10.24),(23.232,-9.702),(23.452,-9.158),(23.708,-8.472),(23.944,-7.78),(24.16,-7.08),(24.28,-6.658),(24.464,-5.948),(24.596,-5.378),(24.742,-4.66),(24.866,-3.938),(24.952,-3.358),(25.022,-2.778),(25.068,-2.34),(25.134,-1.464),(25.166,-0.732),(25.176,-0.146),(25.17,0.586),(25.156,1.026),(25.104,1.902),(25.054,2.486),(24.932,3.504),(24.794,4.372),(24.686,4.948),(24.596,5.378),(24.464,5.948),(24.28,6.658),(24.076,7.36),(23.852,8.058),(23.608,8.748),(23.288,9.566),(23,10.24),(23.044,10.26),(23.332,9.586),(23.55,9.04),(23.754,8.49),(24.036,7.656),(24.208,7.094),(24.404,6.386),(24.546,5.818),(24.674,5.244),(24.79,4.67),(24.892,4.09),(25,3.366),(25.072,2.782),(25.13,2.198),(25.174,1.614),(25.21,0.88),(25.226,0),(25.21,-0.88),(25.174,-1.614),(25.13,-2.198),(25.072,-2.782),(25,-3.366),(24.892,-4.09),(24.79,-4.67),(24.612,-5.532),(24.476,-6.102),(24.328,-6.67),(24.08,-7.516),(23.898,-8.074),(23.654,-8.766),(23.332,-9.586),(23.044,-10.26)])

ring_73119f8f_transform_ = lib.new_cell('ring_73119f8f_transform_e2565d07')
P(ring_73119f8f_transform_, L1_0, [(23.318,-10.382),(23.61,-9.698),(23.776,-9.286),(24.036,-8.59),(24.274,-7.888),(24.452,-7.32),(24.616,-6.75),(24.802,-6.03),(24.966,-5.306),(25.056,-4.87),(25.162,-4.286),(25.276,-3.552),(25.352,-2.964),(25.414,-2.372),(25.472,-1.632),(25.514,-0.742),(25.524,-0.148),(25.518,0.594),(25.49,1.336),(25.452,1.928),(25.414,2.372),(25.352,2.964),(25.276,3.552),(25.162,4.286),(25.056,4.87),(24.966,5.306),(24.802,6.03),(24.616,6.75),(24.452,7.32),(24.182,8.17),(23.934,8.87),(23.666,9.562),(23.318,10.382),(23.362,10.402),(23.598,9.856),(23.928,9.026),(24.082,8.606),(24.322,7.902),(24.456,7.476),(24.702,6.618),(24.884,5.898),(25.044,5.172),(25.158,4.588),(25.258,4),(25.364,3.264),(25.448,2.526),(25.5,1.932),(25.546,1.19),(25.572,0.298),(25.572,-0.298),(25.558,-0.892),(25.53,-1.486),(25.476,-2.228),(25.4,-2.968),(25.324,-3.56),(25.21,-4.294),(25.104,-4.88),(24.918,-5.752),(24.74,-6.474),(24.582,-7.048),(24.412,-7.618),(24.18,-8.326),(23.928,-9.026),(23.598,-9.856),(23.362,-10.402)])

grating_concentric_arc_b = lib.new_cell('grating_concentric_arc_b69b7bde')
P(grating_concentric_arc_b, L1_0, [(0,0.174),(0,-0.174),(10.962,-4.882),(11.006,-4.786),(11.24,-4.202),(11.476,-3.508),(11.644,-2.902),(11.78,-2.29),(11.868,-1.774),(11.954,-1.046),(11.99,-0.524),(12,0.104),(11.99,0.524),(11.934,1.254),(11.836,1.98),(11.738,2.496),(11.564,3.206),(11.38,3.808),(11.126,4.496),(10.962,4.882)])
grating_concentric_arc_b.add(gdstk.Reference(straight_3aa2beef, (-10,0)))
grating_concentric_arc_b.add(gdstk.Reference(ring_7b785521_transform_, (0,0)))
grating_concentric_arc_b.add(gdstk.Reference(ring_e59a8a70_transform_, (0,0)))
grating_concentric_arc_b.add(gdstk.Reference(ring_a37c2fef_transform_, (0,0)))
grating_concentric_arc_b.add(gdstk.Reference(ring_c3e093f3_transform_, (0,0)))
grating_concentric_arc_b.add(gdstk.Reference(ring_b3b36a42_transform_, (0,0)))
grating_concentric_arc_b.add(gdstk.Reference(ring_d9a9c79b_transform_, (0,0)))
grating_concentric_arc_b.add(gdstk.Reference(ring_b496fe11_transform_, (0,0)))
grating_concentric_arc_b.add(gdstk.Reference(ring_81f2dd4c_transform_, (0,0)))
grating_concentric_arc_b.add(gdstk.Reference(ring_652ba43f_transform_, (0,0)))
grating_concentric_arc_b.add(gdstk.Reference(ring_9bdb57f8_transform_, (0,0)))
grating_concentric_arc_b.add(gdstk.Reference(ring_4860715f_transform_, (0,0)))
grating_concentric_arc_b.add(gdstk.Reference(ring_ed31be0d_transform_, (0,0)))
grating_concentric_arc_b.add(gdstk.Reference(ring_e0a0827b_transform_, (0,0)))
grating_concentric_arc_b.add(gdstk.Reference(ring_11cd2b87_transform_, (0,0)))
grating_concentric_arc_b.add(gdstk.Reference(ring_a05d43a9_transform_, (0,0)))
grating_concentric_arc_b.add(gdstk.Reference(ring_7d0d6116_transform_, (0,0)))
grating_concentric_arc_b.add(gdstk.Reference(ring_6399e6f7_transform_, (0,0)))
grating_concentric_arc_b.add(gdstk.Reference(ring_857e8ab7_transform_, (0,0)))
grating_concentric_arc_b.add(gdstk.Reference(ring_9c9b0f23_transform_, (0,0)))
grating_concentric_arc_b.add(gdstk.Reference(ring_575653fd_transform_, (0,0)))
grating_concentric_arc_b.add(gdstk.Reference(ring_a6a98e82_transform_, (0,0)))
grating_concentric_arc_b.add(gdstk.Reference(ring_4dd50803_transform_, (0,0)))
grating_concentric_arc_b.add(gdstk.Reference(ring_e923c7e0_transform_, (0,0)))
grating_concentric_arc_b.add(gdstk.Reference(ring_097d5580_transform_, (0,0)))
grating_concentric_arc_b.add(gdstk.Reference(ring_21fe121f_transform_, (0,0)))
grating_concentric_arc_b.add(gdstk.Reference(ring_8de37473_transform_, (0,0)))
grating_concentric_arc_b.add(gdstk.Reference(ring_ed1db1fa_transform_, (0,0)))
grating_concentric_arc_b.add(gdstk.Reference(ring_dea86173_transform_, (0,0)))
grating_concentric_arc_b.add(gdstk.Reference(ring_476e66be_transform_, (0,0)))
grating_concentric_arc_b.add(gdstk.Reference(ring_2c3fef1b_transform_, (0,0)))
grating_concentric_arc_b.add(gdstk.Reference(ring_37358774_transform_, (0,0)))
grating_concentric_arc_b.add(gdstk.Reference(ring_b1252118_transform_, (0,0)))
grating_concentric_arc_b.add(gdstk.Reference(ring_74b0b324_transform_, (0,0)))
grating_concentric_arc_b.add(gdstk.Reference(ring_af23d430_transform_, (0,0)))
grating_concentric_arc_b.add(gdstk.Reference(ring_fc6a15d7_transform_, (0,0)))
grating_concentric_arc_b.add(gdstk.Reference(ring_73119f8f_transform_, (0,0)))

lib.write_gds('grating_concentric_arc_b69b7bde.gds')
